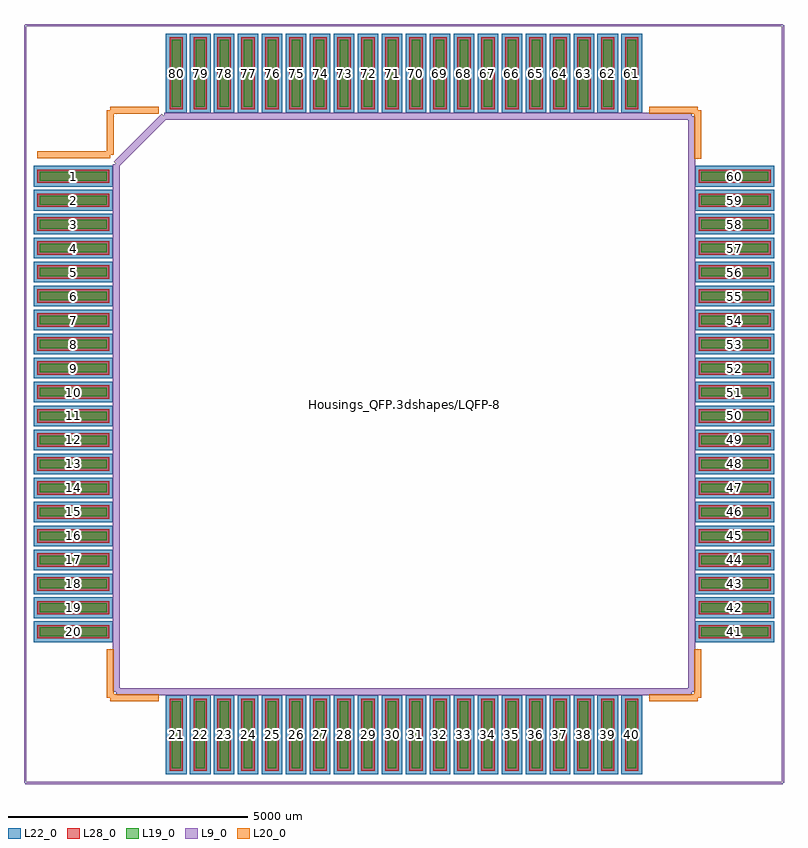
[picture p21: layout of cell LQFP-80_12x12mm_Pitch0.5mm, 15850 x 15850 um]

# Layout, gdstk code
import gdstk
lib = gdstk.Library(unit=1e-6, precision=1e-09)
def R(c, l, rs):  # rectangles x0, y0, x1, y1
    for r in rs: c.add(gdstk.rectangle(r[:2], r[2:], *l))
def A(c, l, x, y, w, h, nx, ny, dx, dy):  # array of equal rectangles
    R(c, l, [(x+i*dx, y+j*dy, x+i*dx+w, y+j*dy+h) for i in range(nx) for j in range(ny)])
L9_0 = (9, 0)
L19_0 = (19, 0)
L20_0 = (20, 0)
L22_0 = (22, 0)
L28_0 = (28, 0)

lqfp_80_12x12mm_pitch0_5 = lib.new_cell('LQFP-80_12x12mm_Pitch0.5mm')
A(lqfp_80_12x12mm_pitch0_5, L19_0, -4840, -7600, 180, 1400, 20, 2, 500, 13800)
A(lqfp_80_12x12mm_pitch0_5, L19_0, -7600, -4840, 1400, 180, 1, 20, 0, 500)
A(lqfp_80_12x12mm_pitch0_5, L19_0, 6200, -4840, 1400, 180, 1, 20, 0, 500)
A(lqfp_80_12x12mm_pitch0_5, L22_0, -4965, -7725, 430, 1650, 20, 2, 500, 13800)
A(lqfp_80_12x12mm_pitch0_5, L22_0, -7725, -4965, 1650, 430, 1, 20, 0, 500)
A(lqfp_80_12x12mm_pitch0_5, L22_0, 6075, -4965, 1650, 430, 1, 20, 0, 500)
A(lqfp_80_12x12mm_pitch0_5, L28_0, -4890, -7650, 280, 1500, 20, 2, 500, 13800)
A(lqfp_80_12x12mm_pitch0_5, L28_0, -7650, -4890, 1500, 280, 1, 20, 0, 500)
A(lqfp_80_12x12mm_pitch0_5, L28_0, 6150, -4890, 1500, 280, 1, 20, 0, 500)
lqfp_80_12x12mm_pitch0_5.add(gdstk.FlexPath([(-6125,5200),(-7650,5200)], 149.998, ends="flush", simple_path=True, layer=20, datatype=0))  # L20_0
lqfp_80_12x12mm_pitch0_5.add(gdstk.FlexPath([(6125,6125),(5115,6125)], 149.998, ends="flush", simple_path=True, layer=20, datatype=0))  # L20_0
lqfp_80_12x12mm_pitch0_5.add(gdstk.FlexPath([(6125,-6125),(5115,-6125)], 149.998, ends="flush", simple_path=True, layer=20, datatype=0))  # L20_0
lqfp_80_12x12mm_pitch0_5.add(gdstk.FlexPath([(-6125,-6125),(-5115,-6125)], 149.998, ends="flush", simple_path=True, layer=20, datatype=0))  # L20_0
lqfp_80_12x12mm_pitch0_5.add(gdstk.FlexPath([(-6125,6125),(-5115,6125)], 149.998, ends="flush", simple_path=True, layer=20, datatype=0))  # L20_0
lqfp_80_12x12mm_pitch0_5.add(gdstk.FlexPath([(-6125,-6125),(-6125,-5115)], 149.998, ends="flush", simple_path=True, layer=20, datatype=0))  # L20_0
lqfp_80_12x12mm_pitch0_5.add(gdstk.FlexPath([(6125,-6125),(6125,-5115)], 149.998, ends="flush", simple_path=True, layer=20, datatype=0))  # L20_0
lqfp_80_12x12mm_pitch0_5.add(gdstk.FlexPath([(6125,6125),(6125,5115)], 149.998, ends="flush", simple_path=True, layer=20, datatype=0))  # L20_0
lqfp_80_12x12mm_pitch0_5.add(gdstk.FlexPath([(-6125,6125),(-6125,5200)], 149.998, ends="flush", simple_path=True, layer=20, datatype=0))  # L20_0
lqfp_80_12x12mm_pitch0_5.add(gdstk.FlexPath([(-7900,-7900),(7900,-7900)], 50, ends="flush", simple_path=True, layer=9, datatype=0))  # L9_0
lqfp_80_12x12mm_pitch0_5.add(gdstk.FlexPath([(-7900,7900),(7900,7900)], 50, ends="flush", simple_path=True, layer=9, datatype=0))  # L9_0
lqfp_80_12x12mm_pitch0_5.add(gdstk.FlexPath([(7900,7900),(7900,-7900)], 50, ends="flush", simple_path=True, layer=9, datatype=0))  # L9_0
lqfp_80_12x12mm_pitch0_5.add(gdstk.FlexPath([(-7900,7900),(-7900,-7900)], 50, ends="flush", simple_path=True, layer=9, datatype=0))  # L9_0
lqfp_80_12x12mm_pitch0_5.add(gdstk.FlexPath([(-6000,5000),(-5000,6000)], 149.998, ends="flush", simple_path=True, layer=9, datatype=0))  # L9_0
lqfp_80_12x12mm_pitch0_5.add(gdstk.FlexPath([(-6000,-6000),(-6000,5000)], 149.998, ends="flush", simple_path=True, layer=9, datatype=0))  # L9_0
lqfp_80_12x12mm_pitch0_5.add(gdstk.FlexPath([(6000,-6000),(-6000,-6000)], 149.998, ends="flush", simple_path=True, layer=9, datatype=0))  # L9_0
lqfp_80_12x12mm_pitch0_5.add(gdstk.FlexPath([(6000,6000),(6000,-6000)], 149.998, ends="flush", simple_path=True, layer=9, datatype=0))  # L9_0
lqfp_80_12x12mm_pitch0_5.add(gdstk.FlexPath([(-5000,6000),(6000,6000)], 149.998, ends="flush", simple_path=True, layer=9, datatype=0))  # L9_0
lqfp_80_12x12mm_pitch0_5.add(gdstk.Label('Housings_QFP.3dshapes/LQFP-80_12x12mm_Pitch0.5mm.wrl', (0,0), layer=12, texttype=0))
lqfp_80_12x12mm_pitch0_5.add(gdstk.Label('80', (-4750,6900), layer=28, texttype=0))
lqfp_80_12x12mm_pitch0_5.add(gdstk.Label('79', (-4250,6900), layer=28, texttype=0))
lqfp_80_12x12mm_pitch0_5.add(gdstk.Label('78', (-3750,6900), layer=28, texttype=0))
lqfp_80_12x12mm_pitch0_5.add(gdstk.Label('77', (-3250,6900), layer=28, texttype=0))
lqfp_80_12x12mm_pitch0_5.add(gdstk.Label('76', (-2750,6900), layer=28, texttype=0))
lqfp_80_12x12mm_pitch0_5.add(gdstk.Label('75', (-2250,6900), layer=28, texttype=0))
lqfp_80_12x12mm_pitch0_5.add(gdstk.Label('74', (-1750,6900), layer=28, texttype=0))
lqfp_80_12x12mm_pitch0_5.add(gdstk.Label('73', (-1250,6900), layer=28, texttype=0))
lqfp_80_12x12mm_pitch0_5.add(gdstk.Label('72', (-750,6900), layer=28, texttype=0))
lqfp_80_12x12mm_pitch0_5.add(gdstk.Label('71', (-250,6900), layer=28, texttype=0))
lqfp_80_12x12mm_pitch0_5.add(gdstk.Label('70', (250,6900), layer=28, texttype=0))
lqfp_80_12x12mm_pitch0_5.add(gdstk.Label('69', (750,6900), layer=28, texttype=0))
lqfp_80_12x12mm_pitch0_5.add(gdstk.Label('68', (1250,6900), layer=28, texttype=0))
lqfp_80_12x12mm_pitch0_5.add(gdstk.Label('67', (1750,6900), layer=28, texttype=0))
lqfp_80_12x12mm_pitch0_5.add(gdstk.Label('66', (2250,6900), layer=28, texttype=0))
lqfp_80_12x12mm_pitch0_5.add(gdstk.Label('65', (2750,6900), layer=28, texttype=0))
lqfp_80_12x12mm_pitch0_5.add(gdstk.Label('64', (3250,6900), layer=28, texttype=0))
lqfp_80_12x12mm_pitch0_5.add(gdstk.Label('63', (3750,6900), layer=28, texttype=0))
lqfp_80_12x12mm_pitch0_5.add(gdstk.Label('62', (4250,6900), layer=28, texttype=0))
lqfp_80_12x12mm_pitch0_5.add(gdstk.Label('61', (4750,6900), layer=28, texttype=0))
lqfp_80_12x12mm_pitch0_5.add(gdstk.Label('60', (6900,4750), layer=28, texttype=0))
lqfp_80_12x12mm_pitch0_5.add(gdstk.Label('59', (6900,4250), layer=28, texttype=0))
lqfp_80_12x12mm_pitch0_5.add(gdstk.Label('58', (6900,3750), layer=28, texttype=0))
lqfp_80_12x12mm_pitch0_5.add(gdstk.Label('57', (6900,3250), layer=28, texttype=0))
lqfp_80_12x12mm_pitch0_5.add(gdstk.Label('56', (6900,2750), layer=28, texttype=0))
lqfp_80_12x12mm_pitch0_5.add(gdstk.Label('55', (6900,2250), layer=28, texttype=0))
lqfp_80_12x12mm_pitch0_5.add(gdstk.Label('54', (6900,1750), layer=28, texttype=0))
lqfp_80_12x12mm_pitch0_5.add(gdstk.Label('53', (6900,1250), layer=28, texttype=0))
lqfp_80_12x12mm_pitch0_5.add(gdstk.Label('52', (6900,750), layer=28, texttype=0))
lqfp_80_12x12mm_pitch0_5.add(gdstk.Label('51', (6900,250), layer=28, texttype=0))
lqfp_80_12x12mm_pitch0_5.add(gdstk.Label('50', (6900,-250), layer=28, texttype=0))
lqfp_80_12x12mm_pitch0_5.add(gdstk.Label('49', (6900,-750), layer=28, texttype=0))
lqfp_80_12x12mm_pitch0_5.add(gdstk.Label('48', (6900,-1250), layer=28, texttype=0))
lqfp_80_12x12mm_pitch0_5.add(gdstk.Label('47', (6900,-1750), layer=28, texttype=0))
lqfp_80_12x12mm_pitch0_5.add(gdstk.Label('46', (6900,-2250), layer=28, texttype=0))
lqfp_80_12x12mm_pitch0_5.add(gdstk.Label('45', (6900,-2750), layer=28, texttype=0))
lqfp_80_12x12mm_pitch0_5.add(gdstk.Label('44', (6900,-3250), layer=28, texttype=0))
lqfp_80_12x12mm_pitch0_5.add(gdstk.Label('43', (6900,-3750), layer=28, texttype=0))
lqfp_80_12x12mm_pitch0_5.add(gdstk.Label('42', (6900,-4250), layer=28, texttype=0))
lqfp_80_12x12mm_pitch0_5.add(gdstk.Label('41', (6900,-4750), layer=28, texttype=0))
lqfp_80_12x12mm_pitch0_5.add(gdstk.Label('40', (4750,-6900), layer=28, texttype=0))
lqfp_80_12x12mm_pitch0_5.add(gdstk.Label('39', (4250,-6900), layer=28, texttype=0))
lqfp_80_12x12mm_pitch0_5.add(gdstk.Label('38', (3750,-6900), layer=28, texttype=0))
lqfp_80_12x12mm_pitch0_5.add(gdstk.Label('37', (3250,-6900), layer=28, texttype=0))
lqfp_80_12x12mm_pitch0_5.add(gdstk.Label('36', (2750,-6900), layer=28, texttype=0))
lqfp_80_12x12mm_pitch0_5.add(gdstk.Label('35', (2250,-6900), layer=28, texttype=0))
lqfp_80_12x12mm_pitch0_5.add(gdstk.Label('34', (1750,-6900), layer=28, texttype=0))
lqfp_80_12x12mm_pitch0_5.add(gdstk.Label('33', (1250,-6900), layer=28, texttype=0))
lqfp_80_12x12mm_pitch0_5.add(gdstk.Label('32', (750,-6900), layer=28, texttype=0))
lqfp_80_12x12mm_pitch0_5.add(gdstk.Label('31', (250,-6900), layer=28, texttype=0))
lqfp_80_12x12mm_pitch0_5.add(gdstk.Label('30', (-250,-6900), layer=28, texttype=0))
lqfp_80_12x12mm_pitch0_5.add(gdstk.Label('29', (-750,-6900), layer=28, texttype=0))
lqfp_80_12x12mm_pitch0_5.add(gdstk.Label('28', (-1250,-6900), layer=28, texttype=0))
lqfp_80_12x12mm_pitch0_5.add(gdstk.Label('27', (-1750,-6900), layer=28, texttype=0))
lqfp_80_12x12mm_pitch0_5.add(gdstk.Label('26', (-2250,-6900), layer=28, texttype=0))
lqfp_80_12x12mm_pitch0_5.add(gdstk.Label('25', (-2750,-6900), layer=28, texttype=0))
lqfp_80_12x12mm_pitch0_5.add(gdstk.Label('24', (-3250,-6900), layer=28, texttype=0))
lqfp_80_12x12mm_pitch0_5.add(gdstk.Label('23', (-3750,-6900), layer=28, texttype=0))
lqfp_80_12x12mm_pitch0_5.add(gdstk.Label('22', (-4250,-6900), layer=28, texttype=0))
lqfp_80_12x12mm_pitch0_5.add(gdstk.Label('21', (-4750,-6900), layer=28, texttype=0))
lqfp_80_12x12mm_pitch0_5.add(gdstk.Label('20', (-6900,-4750), layer=28, texttype=0))
lqfp_80_12x12mm_pitch0_5.add(gdstk.Label('19', (-6900,-4250), layer=28, texttype=0))
lqfp_80_12x12mm_pitch0_5.add(gdstk.Label('18', (-6900,-3750), layer=28, texttype=0))
lqfp_80_12x12mm_pitch0_5.add(gdstk.Label('17', (-6900,-3250), layer=28, texttype=0))
lqfp_80_12x12mm_pitch0_5.add(gdstk.Label('16', (-6900,-2750), layer=28, texttype=0))
lqfp_80_12x12mm_pitch0_5.add(gdstk.Label('15', (-6900,-2250), layer=28, texttype=0))
lqfp_80_12x12mm_pitch0_5.add(gdstk.Label('14', (-6900,-1750), layer=28, texttype=0))
lqfp_80_12x12mm_pitch0_5.add(gdstk.Label('13', (-6900,-1250), layer=28, texttype=0))
lqfp_80_12x12mm_pitch0_5.add(gdstk.Label('12', (-6900,-750), layer=28, texttype=0))
lqfp_80_12x12mm_pitch0_5.add(gdstk.Label('11', (-6900,-250), layer=28, texttype=0))
lqfp_80_12x12mm_pitch0_5.add(gdstk.Label('10', (-6900,250), layer=28, texttype=0))
lqfp_80_12x12mm_pitch0_5.add(gdstk.Label('9', (-6900,750), layer=28, texttype=0))
lqfp_80_12x12mm_pitch0_5.add(gdstk.Label('8', (-6900,1250), layer=28, texttype=0))
lqfp_80_12x12mm_pitch0_5.add(gdstk.Label('7', (-6900,1750), layer=28, texttype=0))
lqfp_80_12x12mm_pitch0_5.add(gdstk.Label('6', (-6900,2250), layer=28, texttype=0))
lqfp_80_12x12mm_pitch0_5.add(gdstk.Label('5', (-6900,2750), layer=28, texttype=0))
lqfp_80_12x12mm_pitch0_5.add(gdstk.Label('4', (-6900,3250), layer=28, texttype=0))
lqfp_80_12x12mm_pitch0_5.add(gdstk.Label('3', (-6900,3750), layer=28, texttype=0))
lqfp_80_12x12mm_pitch0_5.add(gdstk.Label('2', (-6900,4250), layer=28, texttype=0))
lqfp_80_12x12mm_pitch0_5.add(gdstk.Label('1', (-6900,4750), layer=28, texttype=0))
lqfp_80_12x12mm_pitch0_5.add(gdstk.Label('%R', (0,0), layer=9, texttype=0))
lqfp_80_12x12mm_pitch0_5.add(gdstk.Label('type', (0,-8650), layer=9, texttype=0))
lqfp_80_12x12mm_pitch0_5.add(gdstk.Label('devicename', (0,8650), layer=9, texttype=0))

lib.write_gds('LQFP-80_12x12mm_Pitch0.5mm.gds')
